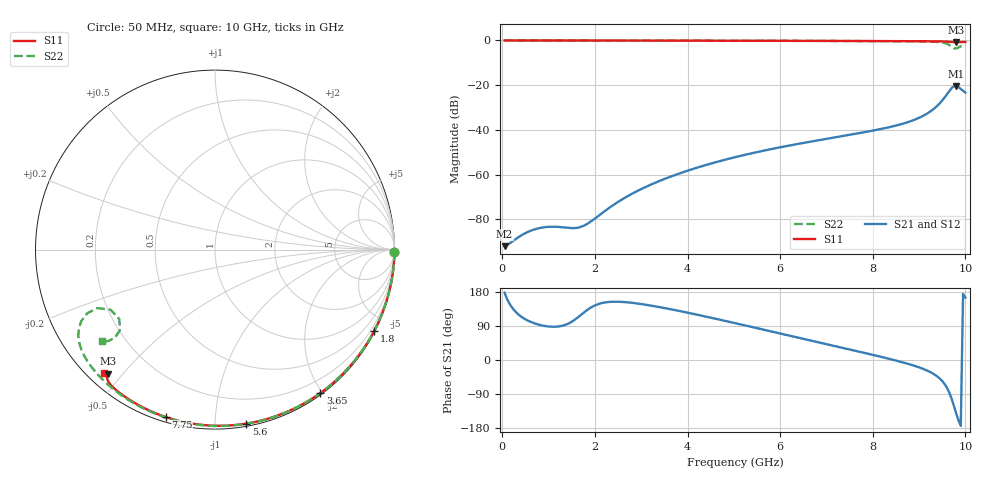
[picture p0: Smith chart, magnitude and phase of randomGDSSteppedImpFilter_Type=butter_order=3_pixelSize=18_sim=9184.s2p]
! freq	dB(S11)	phase(S11)	dB(S12)	phase(S12)
!  dB(S21)	phase(S21)	dB(S22)	phase(S22)
!S-par simulation data
#  GHz  S  DB  R 50
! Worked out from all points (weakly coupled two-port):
!   200 points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, 50 MHz to 10 GHz, reference 50 ohm
!   highest |S21| = -20.36 dB at 9.8 GHz (marker M1); lowest = -92.0 dB at 50 MHz (marker M2)
!   lowest |S11| = -0.8 dB at 9.8 GHz (marker M3), VSWR 21.81, Z = 2.77 - j22.9 ohm
!   |S11| at or under -10 dB: nowhere
!   |S22| runs from -3.6 to 0.0 dB; largest |S21 - S12| = 0
!   S11 on the Smith chart (normalised r, x): 50 MHz: open; 1.8 GHz: 0.04, -4.15; 3.65 GHz: 0.02, -1.98; 5.6 GHz: 0.02, -1.20; 7.75 GHz: 0.02, -0.75; 10 GHz: 0.05, -0.45
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0.05  -0.00 -0.8  -91.99 177.5  -91.99 177.5  -0.00 -0.8
0.9  -0.02 -13.7  -83.54 90.1  -83.54 90.1  -0.02 -14.8
1.75  -0.03 -26.4  -82.94 124.2  -82.94 124.2  -0.04 -28.4
1.8  -0.03 -27.1  -82.41 128.9  -82.41 128.9  -0.04 -29.2
2  -0.04 -30.0  -79.63 144.0  -79.63 144.0  -0.04 -32.4
2.65  -0.05 -39.5  -70.29 152.7  -70.29 152.7  -0.05 -42.6
3.4  -0.07 -50.2  -62.77 139.4  -62.77 139.4  -0.07 -54.1
3.65  -0.07 -53.7  -60.77 133.6  -60.77 133.6  -0.08 -57.9
5.05  -0.11 -72.6  -52.07 96.6  -52.07 96.6  -0.12 -78.4
5.6  -0.13 -79.8  -49.47 81.2  -49.47 81.2  -0.14 -86.1
6.7  -0.18 -93.7  -45.09 50.3  -45.09 50.3  -0.20 -101.3
7.75  -0.24 -106.4  -41.28 20.8  -41.28 20.8  -0.27 -115.8
8.35  -0.29 -113.6  -38.81 3.2  -38.81 3.2  -0.33 -124.4
8.75  -0.32 -118.3  -36.58 -9.7  -36.58 -9.7  -0.38 -130.6
9.05  -0.35 -122.0  -34.10 -21.6  -34.10 -21.6  -0.44 -135.9
9.3  -0.38 -125.1  -30.87 -35.9  -30.87 -35.9  -0.57 -141.5
9.5  -0.44 -127.9  -26.82 -55.6  -26.82 -55.6  -0.92 -147.8
9.6  -0.52 -129.4  -24.10 -72.9  -24.10 -72.9  -1.46 -151.9
9.7  -0.67 -130.6  -21.35 -101.2  -21.35 -101.2  -2.73 -153.5
9.8  -0.80 -130.7  -20.36 -140.4  -20.36 -140.4  -3.62 -143.9
9.9  -0.73 -130.9  -21.70 -173.8  -21.70 -173.8  -2.56 -138.6
10  -0.65 -131.9  -23.33 164.7  -23.33 164.7  -1.81 -141.0
